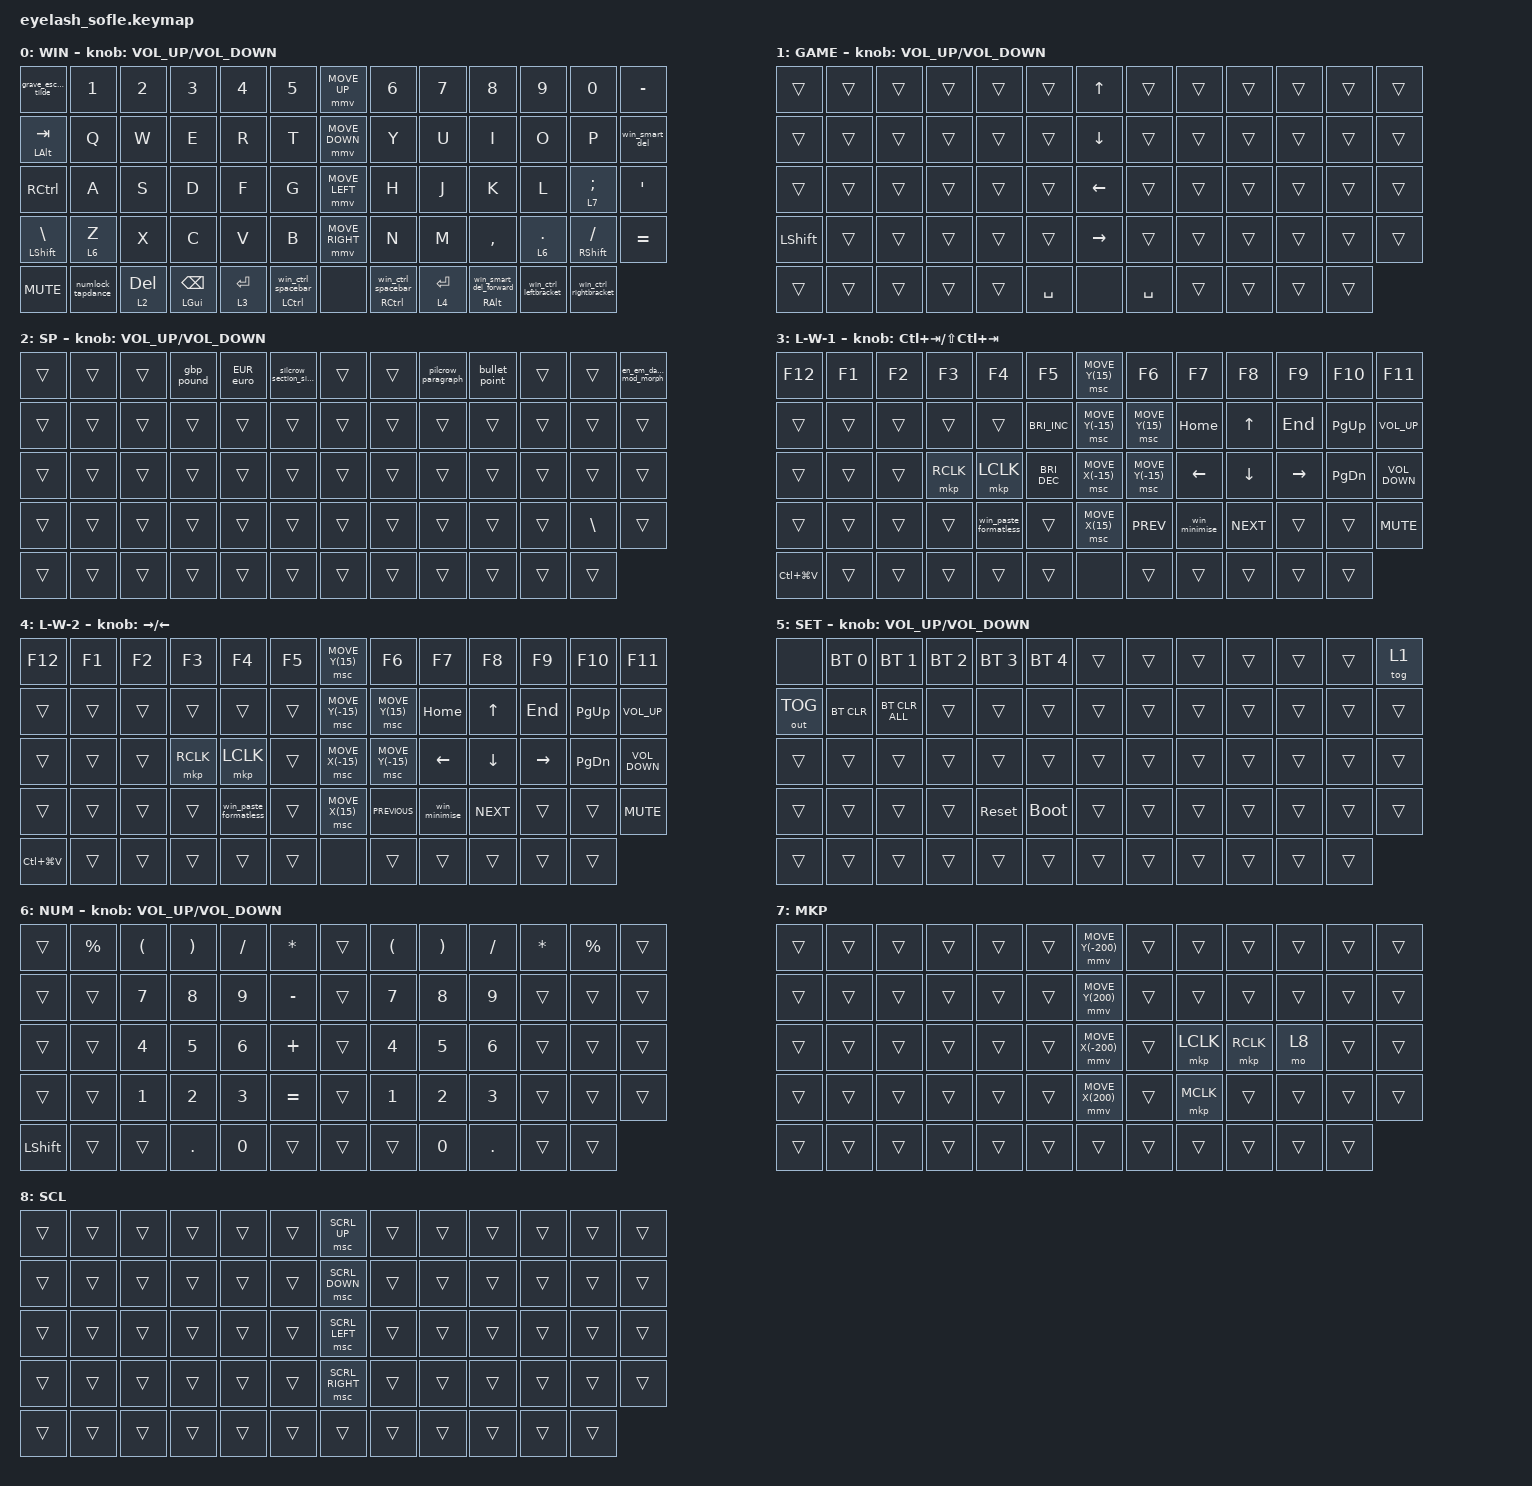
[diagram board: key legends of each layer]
#define ZMK_POINTING_DEFAULT_MOVE_VAL 800
#define ZMK_POINTING_DEFAULT_SCRL_VAL 10

#include <input/processors.dtsi>
#include <zephyr/dt-bindings/input/input-event-codes.h>
#include <behaviors.dtsi>
#include <dt-bindings/zmk/bt.h>
#include <dt-bindings/zmk/keys.h>
#include <dt-bindings/zmk/outputs.h>
#include <dt-bindings/zmk/pointing.h>

&mmv_input_listener { input-processors = <&zip_xy_scaler 4 1>; };

&msc_input_listener { input-processors = <&zip_scroll_scaler 2 1>; };

&msc {
    acceleration-exponent = <0>;      // 0
    time-to-max-speed-ms = <1>;       // 300                   // 0
    trigger-period-ms = <8>;
};

&mmv {
    trigger-period-ms = <8>;
    acceleration-exponent = <0>;
    time-to-max-speed-ms = <300>;
};

/ {
    scroll_encoder: scroll_encoder {
        compatible = "zmk,behavior-sensor-rotate";
        #sensor-binding-cells = <0>;
        bindings = <&msc SCRL_DOWN>, <&msc SCRL_UP>;

        tap-ms = <10>;
    };

    behaviors {
        // Layer

        lt_enter: lt_enter {
            compatible = "zmk,behavior-hold-tap";
            label = "LT_ENTER";
            bindings = <&mo>, <&kp>;

            #binding-cells = <2>;
            tapping-term-ms = <200>;
            require-prior-idle-ms = <25>;
            flavor = "balanced";
        };

        lt_holdpreferred: lt_holdpreferred {
            compatible = "zmk,behavior-hold-tap";
            label = "LT_HOLDPREFERRED";
            bindings = <&mo>, <&kp>;

            #binding-cells = <2>;
            tapping-term-ms = <100>;
            require-prior-idle-ms = <10>;
        };

        // Mod

        mt_spacebar: mt_spacebar {
            compatible = "zmk,behavior-hold-tap";
            label = "MT_SPACEBAR";
            bindings = <&kp>, <&kp>;

            #binding-cells = <2>;
            flavor = "tap-preferred";
            tapping-term-ms = <300>;
            require-prior-idle-ms = <100>;
        };

        mt_balanced: mt_balanced {
            compatible = "zmk,behavior-hold-tap";
            label = "MT_BALANCED";
            bindings = <&kp>, <&kp>;

            #binding-cells = <2>;
            tapping-term-ms = <200>;
            require-prior-idle-ms = <25>;
            flavor = "balanced";
        };

        mt_holdpreferred: mt_holdpreferred {
            compatible = "zmk,behavior-hold-tap";
            label = "MT_HOLDPREFERRED";
            bindings = <&kp>, <&kp>;

            #binding-cells = <2>;
            tapping-term-ms = <125>;
            hold-while-undecided;
        };

        // Grave Escape Morph

        grave_escape_tilde: grave_escape_tilde {
            compatible = "zmk,behavior-mod-morph";
            label = "GRAVE_ESCAPE_TILDE";
            bindings = <&grave_escape_grave>, <&kp TILDE>;

            #binding-cells = <0>;
            keep-mods = <(MOD_LCTL|MOD_LALT|MOD_LGUI|MOD_RCTL|MOD_RALT|MOD_RGUI)>;
            mods = <(MOD_RSFT)>;
        };

        grave_escape_grave: grave_escape_grave {
            compatible = "zmk,behavior-mod-morph";
            label = "GRAVE_ESCAPE_GRAVE";
            bindings = <&kp ESCAPE>, <&kp GRAVE>;

            #binding-cells = <0>;
            keep-mods = <(MOD_LCTL|MOD_LALT|MOD_LGUI|MOD_RCTL|MOD_RALT|MOD_RGUI)>;
            mods = <(MOD_LSFT)>;
        };

        // Windows Delete

        win_smart_del: win_smart_del {
            compatible = "zmk,behavior-mod-morph";
            label = "WIN_SMART_DEL";
            bindings = <&kp BACKSPACE>, <&win_smart_del_with_mods>;

            #binding-cells = <0>;
            mods = <(MOD_LCTL|MOD_LALT)>;
        };

        win_smart_del_forward: win_smart_del_forward {
            compatible = "zmk,behavior-mod-morph";
            label = "WIN_SMART_DEL_FORWARD";
            bindings = <&kp DEL>, <&win_smart_del_with_mods_forward>;

            #binding-cells = <0>;
            mods = <(MOD_LCTL|MOD_LALT)>;
        };

        win_smart_del_with_mods: win_smart_del_with_mods {
            compatible = "zmk,behavior-mod-morph";
            label = "WIN_SMART_DEL_WITH_MODS";
            bindings = <&kp LC(BACKSPACE)>, <&delete_line>;

            #binding-cells = <0>;
            mods = <(MOD_LCTL)>;
            keep-mods = <(MOD_LALT)>;
        };

        win_smart_del_with_mods_forward: win_smart_del_with_mods_forward {
            compatible = "zmk,behavior-mod-morph";
            label = "WIN_SMART_DEL_WITH_MODS_FORWARD";
            bindings = <&kp LC(DEL)>, <&delete_forward_line>;

            #binding-cells = <0>;
            mods = <(MOD_LCTL)>;
            keep-mods = <(MOD_LALT)>;
        };

        win_smart_alt_del_forward: win_smart_alt_del_forward {
            compatible = "zmk,behavior-hold-tap";
            label = "WIN_SMART_ALT_DEL_FORWARD";
            bindings = <&kp>, <&win_smart_del_forward>;

            #binding-cells = <2>;
            flavor = "tap-preferred";
            tapping-term-ms = <300>;
            require-prior-idle-ms = <100>;
        };

        // Spacebar

        win_ctrl_spacebar: win_ctrl_spacebar {
            compatible = "zmk,behavior-mod-morph";
            label = "WIN_CTRL_SPACEBAR";
            bindings = <&win_alt_spacebar>, <&kp LA(SPACE)>;

            #binding-cells = <0>;
            mods = <(MOD_LCTL|MOD_RCTL)>;
            keep-mods = <(MOD_LALT)>;
        };

        win_mt_spacebar_left: win_mt_spacebar_left {
            compatible = "zmk,behavior-hold-tap";
            label = "WIN_MT_SPACEBAR_LEFT";
            bindings = <&kp>, <&win_ctrl_spacebar>;

            #binding-cells = <2>;
            flavor = "hold-preferred";
            tapping-term-ms = <140>;
            hold-while-undecided;
        };

        win_mt_spacebar_right: win_mt_spacebar_right {
            compatible = "zmk,behavior-hold-tap";
            label = "WIN_MT_SPACEBAR_RIGHT";
            bindings = <&kp>, <&win_ctrl_spacebar>;

            #binding-cells = <2>;
            flavor = "tap-preferred";
            tapping-term-ms = <300>;
            require-prior-idle-ms = <100>;
        };

        win_alt_spacebar: win_alt_spacebar {
            compatible = "zmk,behavior-mod-morph";
            label = "WIN_ALT_SPACEBAR";
            bindings = <&kp SPACE>, <&kp LC(SPACE)>;

            #binding-cells = <0>;
            mods = <(MOD_LALT)>;
        };

        // Brackets

        win_ctrl_leftbracket: win_ctrl_leftbracket {
            compatible = "zmk,behavior-mod-morph";
            label = "WIN_CTRL_LEFTBRACKET";
            bindings = <&kp LEFT_BRACKET>, <&kp LA(LEFT)>;

            #binding-cells = <0>;
            mods = <(MOD_LCTL|MOD_RCTL)>;
        };

        win_ctrl_rightbracket: win_ctrl_rightbracket {
            compatible = "zmk,behavior-mod-morph";
            label = "WIN_CTRL_RIGHTBRACKET";
            bindings = <&kp RIGHT_BRACKET>, <&kp LA(RIGHT)>;

            #binding-cells = <0>;
            mods = <(MOD_LCTL|MOD_RCTL)>;
        };

        numlock_tapdance: numlock_tapdance {
            compatible = "zmk,behavior-tap-dance";
            label = "NUMLOCK_TAPDANCE";
            #binding-cells = <0>;
            bindings = <&mo 6>, <&tog 6>;
        };

        scroll_encoder_win_desktop_move: scroll_encoder_win_desktop_move {
            compatible = "zmk,behavior-sensor-rotate-var";
            label = "SCROLL_ENCODER_WIN_DESKTOP_MOVE";
            #sensor-binding-cells = <2>;
            bindings =
                <&win_move_window_desktop_right>,
                <&win_move_window_desktop_left>;
        };

        scroll_alt: scroll_alt {
            compatible = "zmk,behavior-sensor-rotate";
            label = "SCROLL_ALT";
            #sensor-binding-cells = <0>;
            bindings = <&msc MOVE_Y(-15)>, <&msc MOVE_Y(15)>;
        };

        en_em_dash_mod_morph: en_em_dash_mod_morph {
            compatible = "zmk,behavior-mod-morph";
            label = "EN_EM_DASH_MOD_MORPH";
            bindings = <&endash_shortcut>, <&emdash_shortcut>;

            #binding-cells = <0>;
            mods = <(MOD_LSFT|MOD_RSFT)>;
        };
    };

    macros {
        delete_line: delete_line {
            compatible = "zmk,behavior-macro";
            #binding-cells = <0>;
            bindings =
                <&macro_press>,
                <&kp LS(HOME)>,
                <&macro_tap>,
                <&kp BACKSPACE>,
                <&macro_release>,
                <&kp LS(HOME)>;

            label = "DELETE_LINE";
        };

        delete_forward_line: delete_forward_line {
            compatible = "zmk,behavior-macro";
            #binding-cells = <0>;
            bindings =
                <&macro_press>,
                <&kp LS(END)>,
                <&macro_tap>,
                <&kp BACKSPACE>,
                <&macro_release>,
                <&kp LS(END)>;

            label = "DELETE_FORWARD_LINE";
        };

        gbp_pound: gbp_pound {
            compatible = "zmk,behavior-macro";
            #binding-cells = <0>;
            bindings =
                <&macro_press>,
                <&kp LALT>,
                <&macro_tap>,
                <&kp KP_N0 &kp KP_N1 &kp KP_N6 &kp KP_N3>,
                <&macro_release>,
                <&kp LALT>;

            label = "GBP_POUND";
            wait-ms = <0>;
            tap-ms = <0>;
        };

        EUR_euro: EUR_euro {
            compatible = "zmk,behavior-macro";
            #binding-cells = <0>;
            bindings =
                <&macro_press>,
                <&kp LALT>,
                <&macro_tap>,
                <&kp KP_N0 &kp KP_N1 &kp KP_N2 &kp KP_N8>,
                <&macro_release>,
                <&kp LALT>;

            label = "EUR_EURO";
            wait-ms = <0>;
            tap-ms = <0>;
        };

        bullet_point: bullet_point {
            compatible = "zmk,behavior-macro";
            #binding-cells = <0>;
            bindings =
                <&macro_press>,
                <&kp LALT>,
                <&macro_tap>,
                <&kp KP_N7>,
                <&macro_release>,
                <&kp LALT>;

            label = "BULLET_POINT";
            wait-ms = <0>;
            tap-ms = <0>;
        };

        win_minimise: win_minimise {
            compatible = "zmk,behavior-macro";
            #binding-cells = <0>;
            bindings =
                <&macro_press>,
                <&kp LEFT_GUI>,
                <&macro_tap>,
                <&kp DOWN>,
                <&macro_wait_time 16>,
                <&kp DOWN>,
                <&macro_wait_time 16>,
                <&kp DOWN>,
                <&macro_release>,
                <&kp LEFT_GUI>;

            label = "WIN_MINIMISE";
            wait-ms = <0>;
            tap-ms = <0>;
        };

        win_paste_formatless: win_paste_formatless {
            compatible = "zmk,behavior-macro";
            #binding-cells = <0>;
            bindings =
                <&macro_tap>,
                <&kp ESC>,
                <&macro_wait_time 16>,
                <&macro_press>,
                <&kp LGUI &kp LALT &kp LCTRL>,
                <&macro_wait_time 50>,
                <&macro_tap>,
                <&kp V>,
                <&macro_wait_time 50>,
                <&macro_release>,
                <&kp LGUI &kp LALT &kp LCTRL>,
                <&macro_wait_time 16>,
                <&macro_tap>,
                <&kp ESC>;

            label = "WIN_PASTE_FORMATLESS";
            wait-ms = <0>;
            tap-ms = <0>;
        };

        win_move_window_desktop_left: win_move_window_desktop_left {
            compatible = "zmk,behavior-macro";
            #binding-cells = <0>;
            bindings =
                <&macro_tap>,
                <&kp LG(UP_ARROW)>,
                <&macro_wait_time 16>,
                <&macro_tap>,
                <&kp LG(UP_ARROW)>,
                <&macro_wait_time 16>,
                <&macro_tap>,
                <&kp LG(LEFT_ARROW)>,
                <&macro_wait_time 16>,
                <&macro_tap>,
                <&kp LG(LEFT_ARROW)>,
                <&macro_tap>,
                <&macro_wait_time 16>,
                <&kp LG(UP_ARROW)>;

            label = "WIN_MOVE_WINDOW_DESKTOP_LEFT";
        };

        win_move_window_desktop_right: win_move_window_desktop_right {
            compatible = "zmk,behavior-macro";
            #binding-cells = <0>;
            bindings =
                <&macro_tap>,
                <&kp LG(UP_ARROW)>,
                <&macro_wait_time 16>,
                <&macro_tap>,
                <&kp LG(UP_ARROW)>,
                <&macro_wait_time 16>,
                <&macro_tap>,
                <&kp LG(RIGHT_ARROW)>,
                <&macro_wait_time 16>,
                <&macro_tap>,
                <&kp LG(RIGHT_ARROW)>,
                <&macro_tap>,
                <&macro_wait_time 16>,
                <&kp LG(UP_ARROW)>;

            label = "WIN_MOVE_WINDOW_DESKTOP_RIGHT";
        };

        win_ctrl_alt_del: win_ctrl_alt_del {
            compatible = "zmk,behavior-macro";
            #binding-cells = <0>;
            bindings =
                <&macro_press>,
                <&kp LCTRL>,
                <&macro_wait_time 50>,
                <&macro_press>,
                <&kp LALT>,
                <&macro_wait_time 50>,
                <&macro_press>,
                <&kp DEL>,
                <&macro_wait_time 50>,
                <&macro_release>,
                <&kp LCTRL &kp LALT &kp DEL>;

            label = "WIN_CTRL_ALT_DEL";
        };

        pilcrow_paragraph: pilcrow_paragraph {
            compatible = "zmk,behavior-macro";
            #binding-cells = <0>;
            bindings =
                <&macro_press>,
                <&kp LALT>,
                <&macro_tap>,
                <&kp KP_N2 &kp KP_N0>,
                <&macro_release>,
                <&kp LALT>;

            label = "PILCROW";
            wait-ms = <0>;
            tap-ms = <0>;
        };

        silcrow_section_sign: silcrow_section_sign {
            compatible = "zmk,behavior-macro";
            #binding-cells = <0>;
            bindings =
                <&macro_press>,
                <&kp LALT>,
                <&macro_tap>,
                <&kp KP_N2 &kp KP_N1>,
                <&macro_release>,
                <&kp LALT>;

            label = "SILCROW_SECTION_SIGN";
            wait-ms = <0>;
            tap-ms = <0>;
        };

        endash_shortcut: ndash {
            compatible = "zmk,behavior-macro";
            #binding-cells = <0>;
            bindings =
                <&macro_press>,
                <&kp LALT>,
                <&macro_tap>,
                <&kp KP_N0 &kp KP_N1 &kp KP_N5 &kp KP_N0>,
                <&macro_release>,
                <&kp LALT>;

            label = "NDASH";
            wait-ms = <0>;
            tap-ms = <0>;
        };

        emdash_shortcut: emdash_shortcut {
            compatible = "zmk,behavior-macro";
            #binding-cells = <0>;
            bindings =
                <&macro_press>,
                <&kp LALT>,
                <&macro_tap>,
                <&kp KP_N0 &kp KP_N1 &kp KP_N5 &kp KP_N1>,
                <&macro_release>,
                <&kp LALT>;

            label = "EMDASH_SHORTCUT";
            wait-ms = <0>;
            tap-ms = <0>;
        };
    };

    combos {
        compatible = "zmk,combos";

        win_gui+ctrl+esc {
            bindings = <&win_ctrl_alt_del>;
            key-positions = <56 57 0>;
            layers = <0>;
        };
    };

    keymap {
        compatible = "zmk,keymap";

        WIN_BASE {
            display-name = "WIN";
            bindings = <
&grave_escape_tilde                &kp N1             &kp N2              &kp N3                       &kp N4                     &kp N5                           &mmv MOVE_UP     &kp N6                          &kp N7             &kp N8                             &kp N9                 &kp N0                          &kp MINUS
&mt_spacebar LALT TAB              &kp Q              &kp W               &kp E                        &kp R                      &kp T                            &mmv MOVE_DOWN   &kp Y                           &kp U              &kp I                              &kp O                  &kp P                           &win_smart_del
&kp RCTRL                          &kp A              &kp S               &kp D                        &kp F                      &kp G                            &mmv MOVE_LEFT   &kp H                           &kp J              &kp K                              &kp L                  &lt 7 SEMICOLON                 &kp APOS
&mt_holdpreferred LSHFT BACKSLASH  &lt 6 Z            &kp X               &kp C                        &kp V                      &kp B                            &mmv MOVE_RIGHT  &kp N                           &kp M              &kp COMMA                          &lt 6 PERIOD           &mt_balanced RIGHT_SHIFT SLASH  &kp EQUAL
&kp C_MUTE                         &numlock_tapdance  &lt_enter 2 DELETE  &mt_balanced LGUI BACKSPACE  &lt_holdpreferred 3 ENTER  &win_mt_spacebar_left LCTRL 0    &none            &win_mt_spacebar_right RCTRL 0  &lt_enter 4 ENTER  &win_smart_alt_del_forward RALT 0  &win_ctrl_leftbracket  &win_ctrl_rightbracket
            >;

            sensor-bindings = <&inc_dec_kp C_VOLUME_UP C_VOLUME_DOWN>;
        };

        GAME {
            label = "GAME";
            bindings = <
&trans          &trans  &trans  &trans  &trans  &trans       &kp UP     &trans     &trans  &trans  &trans  &trans  &trans
&trans          &trans  &trans  &trans  &trans  &trans       &kp DOWN   &trans     &trans  &trans  &trans  &trans  &trans
&trans          &trans  &trans  &trans  &trans  &trans       &kp LEFT   &trans     &trans  &trans  &trans  &trans  &trans
&kp LEFT_SHIFT  &trans  &trans  &trans  &trans  &trans       &kp RIGHT  &trans     &trans  &trans  &trans  &trans  &trans
&trans          &trans  &trans  &trans  &trans  &kp SPACE    &none      &kp SPACE  &trans  &trans  &trans  &trans
            >;

            sensor-bindings = <&inc_dec_kp C_VOLUME_UP C_VOLUME_DOWN>;
        };

        Special {
            label = "SP";
            bindings = <
&trans  &trans  &trans  &gbp_pound  &EUR_euro  &silcrow_section_sign    &trans  &trans  &pilcrow_paragraph  &bullet_point  &trans  &trans         &en_em_dash_mod_morph
&trans  &trans  &trans  &trans      &trans     &trans                   &trans  &trans  &trans              &trans         &trans  &trans         &trans
&trans  &trans  &trans  &trans      &trans     &trans                   &trans  &trans  &trans              &trans         &trans  &trans         &trans
&trans  &trans  &trans  &trans      &trans     &trans                   &trans  &trans  &trans              &trans         &trans  &kp BACKSLASH  &trans
&trans  &trans  &trans  &trans      &trans     &trans                   &trans  &trans  &trans              &trans         &trans  &trans
            >;

            sensor-bindings = <&inc_dec_kp C_VOLUME_UP C_VOLUME_DOWN>;
        };

        Layer-Win-01 {
            label = "L-W-1";
            bindings = <
&kp F12        &kp F1  &kp F2  &kp F3     &kp F4                 &kp F5                  &msc MOVE_Y(15)   &kp F6            &kp F7         &kp F8      &kp F9     &kp F10        &kp F11
&trans         &trans  &trans  &trans     &trans                 &kp C_BRIGHTNESS_INC    &msc MOVE_Y(-15)  &msc MOVE_Y(15)   &kp HOME       &kp UP      &kp END    &kp PAGE_UP    &kp C_VOLUME_UP
&trans         &trans  &trans  &mkp RCLK  &mkp LCLK              &kp C_BRIGHTNESS_DEC    &msc MOVE_X(-15)  &msc MOVE_Y(-15)  &kp LEFT       &kp DOWN    &kp RIGHT  &kp PAGE_DOWN  &kp C_VOLUME_DOWN
&trans         &trans  &trans  &trans     &win_paste_formatless  &trans                  &msc MOVE_X(15)   &kp C_PREV        &win_minimise  &kp C_NEXT  &trans     &trans         &kp C_MUTE
&kp LC(LG(V))  &trans  &trans  &trans     &trans                 &trans                  &none             &trans            &trans         &trans      &trans     &trans
            >;

            sensor-bindings = <&inc_dec_kp LC(TAB) LS(LC(TAB))>;
        };

        Layer-Win-02 {
            label = "L-W-2";
            bindings = <
&kp F12        &kp F1  &kp F2  &kp F3     &kp F4                 &kp F5    &msc MOVE_Y(15)   &kp F6            &kp F7         &kp F8      &kp F9     &kp F10        &kp F11
&trans         &trans  &trans  &trans     &trans                 &trans    &msc MOVE_Y(-15)  &msc MOVE_Y(15)   &kp HOME       &kp UP      &kp END    &kp PAGE_UP    &kp C_VOLUME_UP
&trans         &trans  &trans  &mkp RCLK  &mkp LCLK              &trans    &msc MOVE_X(-15)  &msc MOVE_Y(-15)  &kp LEFT       &kp DOWN    &kp RIGHT  &kp PAGE_DOWN  &kp C_VOLUME_DOWN
&trans         &trans  &trans  &trans     &win_paste_formatless  &trans    &msc MOVE_X(15)   &kp C_PREVIOUS    &win_minimise  &kp C_NEXT  &trans     &trans         &kp C_MUTE
&kp LC(LG(V))  &trans  &trans  &trans     &trans                 &trans    &none             &trans            &trans         &trans      &trans     &trans
            >;

            sensor-bindings = <&inc_dec_kp RIGHT LEFT>;
        };

        Layer-Settings {
            label = "SET";
            bindings = <
&none         &bt BT_SEL 0  &bt BT_SEL 1    &bt BT_SEL 2  &bt BT_SEL 3  &bt BT_SEL 4    &trans  &trans  &trans  &trans  &trans  &trans  &tog 1
&out OUT_TOG  &bt BT_CLR    &bt BT_CLR_ALL  &trans        &trans        &trans          &trans  &trans  &trans  &trans  &trans  &trans  &trans
&trans        &trans        &trans          &trans        &trans        &trans          &trans  &trans  &trans  &trans  &trans  &trans  &trans
&trans        &trans        &trans          &trans        &sys_reset    &bootloader     &trans  &trans  &trans  &trans  &trans  &trans  &trans
&trans        &trans        &trans          &trans        &trans        &trans          &trans  &trans  &trans  &trans  &trans  &trans
            >;

            sensor-bindings = <&inc_dec_kp C_VOLUME_UP C_VOLUME_DOWN>;
        };

        NUMPAD {
            label = "NUM";
            bindings = <
&trans          &kp PERCENT  &kp LEFT_PARENTHESIS  &kp RIGHT_PARENTHESIS  &kp SLASH     &kp ASTERISK    &trans  &kp LEFT_PARENTHESIS  &kp RIGHT_PARENTHESIS  &kp SLASH     &kp ASTERISK  &kp PERCENT  &trans
&trans          &trans       &kp N7                &kp N8                 &kp N9        &kp MINUS       &trans  &kp N7                &kp N8                 &kp N9        &trans        &trans       &trans
&trans          &trans       &kp NUMBER_4          &kp N5                 &kp NUMBER_6  &kp PLUS        &trans  &kp NUMBER_4          &kp N5                 &kp NUMBER_6  &trans        &trans       &trans
&trans          &trans       &kp NUMBER_1          &kp NUMBER_2           &kp NUMBER_3  &kp EQUAL       &trans  &kp NUMBER_1          &kp NUMBER_2           &kp NUMBER_3  &trans        &trans       &trans
&kp LEFT_SHIFT  &trans       &trans                &kp PERIOD             &kp N0        &trans          &trans  &trans                &kp N0                 &kp PERIOD    &trans        &trans
            >;

            sensor-bindings = <&inc_dec_kp C_VOLUME_UP C_VOLUME_DOWN>;
        };

        layer_10 {
            label = "MKP";
            bindings = <
&trans  &trans  &trans  &trans  &trans  &trans    &mmv MOVE_Y(-200)  &trans  &trans     &trans     &trans  &trans  &trans
&trans  &trans  &trans  &trans  &trans  &trans    &mmv MOVE_Y(200)   &trans  &trans     &trans     &trans  &trans  &trans
&trans  &trans  &trans  &trans  &trans  &trans    &mmv MOVE_X(-200)  &trans  &mkp LCLK  &mkp RCLK  &mo 8   &trans  &trans
&trans  &trans  &trans  &trans  &trans  &trans    &mmv MOVE_X(200)   &trans  &mkp MCLK  &trans     &trans  &trans  &trans
&trans  &trans  &trans  &trans  &trans  &trans    &trans             &trans  &trans     &trans     &trans  &trans
            >;
        };

        layer_11 {
            label = "SCL";
            bindings = <
&trans  &trans  &trans  &trans  &trans  &trans    &msc SCRL_UP     &trans  &trans  &trans  &trans  &trans  &trans
&trans  &trans  &trans  &trans  &trans  &trans    &msc SCRL_DOWN   &trans  &trans  &trans  &trans  &trans  &trans
&trans  &trans  &trans  &trans  &trans  &trans    &msc SCRL_LEFT   &trans  &trans  &trans  &trans  &trans  &trans
&trans  &trans  &trans  &trans  &trans  &trans    &msc SCRL_RIGHT  &trans  &trans  &trans  &trans  &trans  &trans
&trans  &trans  &trans  &trans  &trans  &trans    &trans           &trans  &trans  &trans  &trans  &trans
            >;
        };
    };

    conditional_layers {
        compatible = "zmk,conditional-layers";

        Layer-Settings {
            if-layers = <3 4>;
            then-layer = <5>;
        };
    };
};
